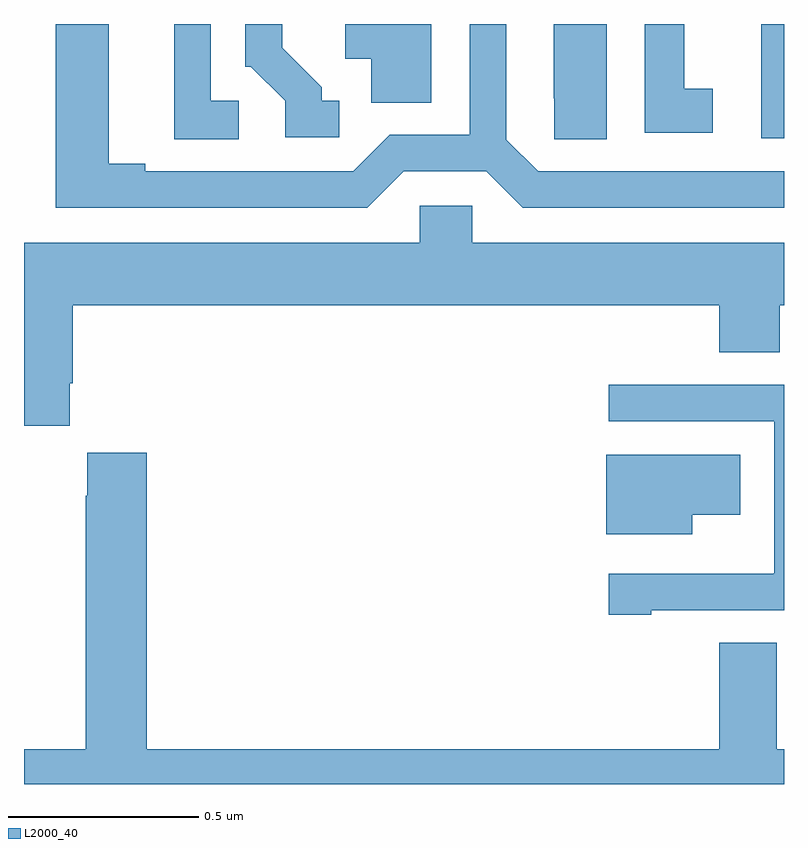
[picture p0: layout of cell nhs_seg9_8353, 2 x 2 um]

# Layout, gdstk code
import gdstk
lib = gdstk.Library(unit=1e-6, precision=1e-09)
def R(c, l, rs):  # rectangles x0, y0, x1, y1
    for r in rs: c.add(gdstk.rectangle(r[:2], r[2:], *l))
def P(c, l, *ps):  # polygons
    for p in ps: c.add(gdstk.Polygon(p, *l))
L2000_40 = (2000, 40)

nhs_seg9_8353 = lib.new_cell('nhs_seg9_8353')
R(nhs_seg9_8353, L2000_40, [(217.94,1190.199,218,1190.5)])
P(nhs_seg9_8353, L2000_40, [(216.829,1190.298),(216.784,1190.298),(216.784,1190.333),(216.679,1190.438),(216.679,1190.5),(216.582,1190.5),(216.582,1190.388),(216.597,1190.388),(216.687,1190.298),(216.687,1190.202),(216.829,1190.202)],
  [(217.813,1190.33),(217.738,1190.33),(217.738,1190.5),(217.634,1190.5),(217.634,1190.214),(217.813,1190.214)],
  [(217.534,1190.5),(217.394,1190.5),(217.394,1190.305),(217.395,1190.305),(217.395,1190.197),(217.534,1190.197)],
  [(216.999,1190.112),(217.217,1190.112),(217.313,1190.016),(218,1190.016),(218,1190.112),(217.353,1190.112),(217.269,1190.196),(217.269,1190.5),(217.173,1190.5),(217.173,1190.208),(216.963,1190.208),(216.867,1190.112),(216.319,1190.112),(216.319,1190.132),(216.223,1190.132),(216.223,1190.5),(216.083,1190.5),(216.083,1190.016),(216.903,1190.016)],
  [(216.565,1190.298),(216.492,1190.298),(216.492,1190.5),(216.395,1190.5),(216.395,1190.197),(216.565,1190.197)],
  [(217.072,1190.5),(216.845,1190.5),(216.845,1190.408),(216.914,1190.408),(216.914,1190.293),(217.072,1190.293)],
  [(216.121,1189.555),(216.128,1189.555),(216.128,1189.76),(217.829,1189.76),(217.829,1189.636),(217.989,1189.636),(217.989,1189.76),(218,1189.76),(218,1189.924),(217.179,1189.924),(217.179,1190.022),(217.041,1190.022),(217.041,1189.924),(216,1189.924),(216,1189.443),(216.121,1189.443)],
  [(217.651,1188.957),(218,1188.957),(218,1189.551),(217.539,1189.551),(217.539,1189.455),(217.974,1189.455),(217.974,1189.054),(217.973,1189.054),(217.973,1189.053),(217.539,1189.053),(217.539,1188.945),(217.651,1188.945)],
  [(218,1188.592),(217.981,1188.592),(217.981,1188.872),(217.829,1188.872),(217.829,1188.592),(216.323,1188.592),(216.323,1189.372),(216.167,1189.372),(216.167,1189.259),(216.163,1189.259),(216.163,1188.592),(216,1188.592),(216,1188.5),(218,1188.5)],
  [(217.759,1189.208),(217.885,1189.208),(217.885,1189.366),(217.532,1189.366),(217.532,1189.157),(217.759,1189.157)])

lib.write_gds('nhs_seg9_8353.gds')
